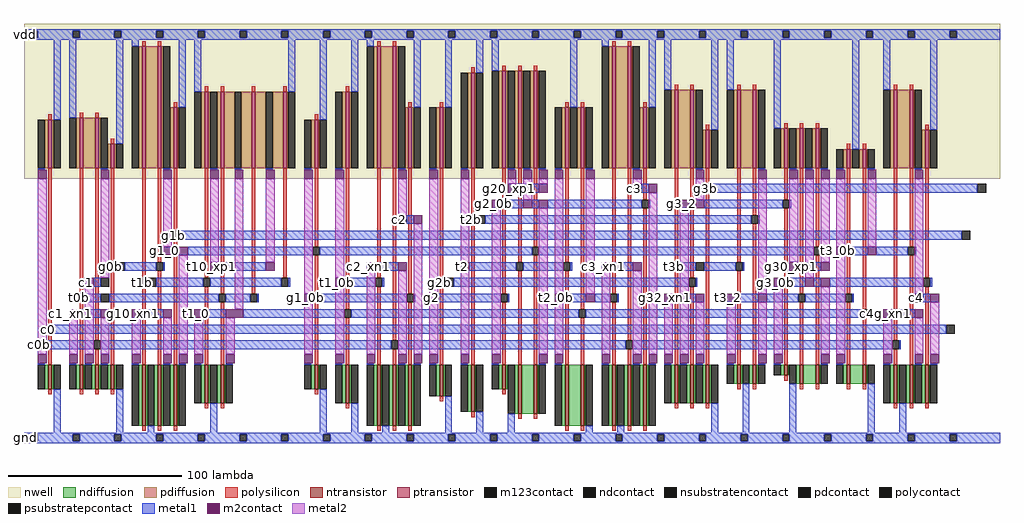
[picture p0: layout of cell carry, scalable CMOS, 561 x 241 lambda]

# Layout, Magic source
magic
tech scmos
<< nwell >>
rect 0 152 561 241
<< ntransistor >>
rect 14 31 16 45
rect 32 31 34 45
rect 41 31 43 45
rect 50 31 52 45
rect 68 10 70 45
rect 77 10 79 45
rect 86 10 88 45
rect 104 23 106 45
rect 113 23 115 45
rect 167 31 169 45
rect 185 23 187 45
rect 203 10 205 45
rect 212 10 214 45
rect 221 10 223 45
rect 239 27 241 45
rect 257 18 259 45
rect 275 31 277 45
rect 284 17 286 45
rect 293 17 295 45
rect 311 10 313 45
rect 320 10 322 45
rect 338 10 340 45
rect 347 10 349 45
rect 356 10 358 45
rect 374 23 376 45
rect 383 23 385 45
rect 392 23 394 45
rect 410 34 412 45
rect 419 34 421 45
rect 437 39 439 45
rect 446 34 448 45
rect 455 34 457 45
rect 473 34 475 45
rect 482 34 484 45
rect 500 23 502 45
rect 509 23 511 45
rect 518 23 520 45
<< ptransistor >>
rect 14 158 16 186
rect 32 158 34 187
rect 41 158 43 187
rect 50 158 52 172
rect 68 158 70 228
rect 77 158 79 228
rect 86 158 88 193
rect 104 158 106 202
rect 113 158 115 202
rect 131 158 133 202
rect 149 158 151 202
rect 167 158 169 186
rect 185 158 187 202
rect 203 158 205 228
rect 212 158 214 228
rect 221 158 223 193
rect 239 158 241 193
rect 257 158 259 213
rect 275 158 277 214
rect 284 158 286 214
rect 293 158 295 214
rect 311 158 313 193
rect 320 158 322 193
rect 338 158 340 228
rect 347 158 349 228
rect 356 158 358 193
rect 374 158 376 203
rect 383 158 385 203
rect 392 158 394 180
rect 410 158 412 203
rect 419 158 421 203
rect 437 158 439 181
rect 446 158 448 181
rect 455 158 457 181
rect 473 158 475 169
rect 482 158 484 169
rect 500 158 502 203
rect 509 158 511 203
rect 518 158 520 180
<< ndiffusion >>
rect 12 31 14 45
rect 16 31 17 45
rect 30 31 32 45
rect 34 31 35 45
rect 39 31 41 45
rect 43 31 44 45
rect 48 31 50 45
rect 52 31 53 45
rect 66 10 68 45
rect 70 10 71 45
rect 75 10 77 45
rect 79 10 80 45
rect 84 10 86 45
rect 88 10 89 45
rect 102 23 104 45
rect 106 23 107 45
rect 111 23 113 45
rect 115 23 116 45
rect 165 31 167 45
rect 169 31 170 45
rect 183 23 185 45
rect 187 23 188 45
rect 201 10 203 45
rect 205 10 206 45
rect 210 10 212 45
rect 214 10 215 45
rect 219 10 221 45
rect 223 10 224 45
rect 237 27 239 45
rect 241 27 242 45
rect 255 18 257 45
rect 259 18 260 45
rect 273 31 275 45
rect 277 31 278 45
rect 282 17 284 45
rect 286 17 293 45
rect 295 17 296 45
rect 309 10 311 45
rect 313 10 320 45
rect 322 10 323 45
rect 336 10 338 45
rect 340 10 341 45
rect 345 10 347 45
rect 349 10 350 45
rect 354 10 356 45
rect 358 10 359 45
rect 372 23 374 45
rect 376 23 377 45
rect 381 23 383 45
rect 385 23 386 45
rect 390 23 392 45
rect 394 23 395 45
rect 408 34 410 45
rect 412 34 413 45
rect 417 34 419 45
rect 421 34 422 45
rect 435 39 437 45
rect 439 39 440 45
rect 444 34 446 45
rect 448 34 455 45
rect 457 34 458 45
rect 471 34 473 45
rect 475 34 482 45
rect 484 34 485 45
rect 498 23 500 45
rect 502 23 503 45
rect 507 23 509 45
rect 511 23 512 45
rect 516 23 518 45
rect 520 23 521 45
<< pdiffusion >>
rect 12 158 14 186
rect 16 158 17 186
rect 30 158 32 187
rect 34 158 41 187
rect 43 158 44 187
rect 48 158 50 172
rect 52 158 53 172
rect 66 158 68 228
rect 70 158 77 228
rect 79 158 80 228
rect 84 158 86 193
rect 88 158 89 193
rect 102 158 104 202
rect 106 158 107 202
rect 111 158 113 202
rect 115 158 121 202
rect 125 158 131 202
rect 133 158 139 202
rect 143 158 149 202
rect 151 158 152 202
rect 165 158 167 186
rect 169 158 170 186
rect 183 158 185 202
rect 187 158 188 202
rect 201 158 203 228
rect 205 158 212 228
rect 214 158 215 228
rect 219 158 221 193
rect 223 158 224 193
rect 237 158 239 193
rect 241 158 242 193
rect 255 158 257 213
rect 259 158 260 213
rect 273 158 275 214
rect 277 158 278 214
rect 282 158 284 214
rect 286 158 287 214
rect 291 158 293 214
rect 295 158 296 214
rect 309 158 311 193
rect 313 158 314 193
rect 318 158 320 193
rect 322 158 323 193
rect 336 158 338 228
rect 340 158 347 228
rect 349 158 350 228
rect 354 158 356 193
rect 358 158 359 193
rect 372 158 374 203
rect 376 158 383 203
rect 385 158 386 203
rect 390 158 392 180
rect 394 158 395 180
rect 408 158 410 203
rect 412 158 419 203
rect 421 158 422 203
rect 435 158 437 181
rect 439 158 440 181
rect 444 158 446 181
rect 448 158 449 181
rect 453 158 455 181
rect 457 158 458 181
rect 471 158 473 169
rect 475 158 476 169
rect 480 158 482 169
rect 484 158 485 169
rect 498 158 500 203
rect 502 158 509 203
rect 511 158 512 203
rect 516 158 518 180
rect 520 158 521 180
<< ndcontact >>
rect 8 31 12 45
rect 17 31 21 45
rect 26 31 30 45
rect 35 31 39 45
rect 44 31 48 45
rect 53 31 57 45
rect 62 10 66 45
rect 71 10 75 45
rect 80 10 84 45
rect 89 10 93 45
rect 98 23 102 45
rect 107 23 111 45
rect 116 23 120 45
rect 161 31 165 45
rect 170 31 174 45
rect 179 23 183 45
rect 188 23 192 45
rect 197 10 201 45
rect 206 10 210 45
rect 215 10 219 45
rect 224 10 228 45
rect 233 27 237 45
rect 242 27 246 45
rect 251 18 255 45
rect 260 18 264 45
rect 269 31 273 45
rect 278 17 282 45
rect 296 17 300 45
rect 305 10 309 45
rect 323 10 327 45
rect 332 10 336 45
rect 341 10 345 45
rect 350 10 354 45
rect 359 10 363 45
rect 368 23 372 45
rect 377 23 381 45
rect 386 23 390 45
rect 395 23 399 45
rect 404 34 408 45
rect 413 34 417 45
rect 422 34 426 45
rect 431 39 435 45
rect 440 34 444 45
rect 458 34 462 45
rect 467 34 471 45
rect 485 34 489 45
rect 494 23 498 45
rect 503 23 507 45
rect 512 23 516 45
rect 521 23 525 45
<< pdcontact >>
rect 8 158 12 186
rect 17 158 21 186
rect 26 158 30 187
rect 44 158 48 187
rect 53 158 57 172
rect 62 158 66 228
rect 80 158 84 228
rect 89 158 93 193
rect 98 158 102 202
rect 107 158 111 202
rect 121 158 125 202
rect 139 158 143 202
rect 152 158 156 202
rect 161 158 165 186
rect 170 158 174 186
rect 179 158 183 202
rect 188 158 192 202
rect 197 158 201 228
rect 215 158 219 228
rect 224 158 228 193
rect 233 158 237 193
rect 242 158 246 193
rect 251 158 255 213
rect 260 158 264 213
rect 269 158 273 214
rect 278 158 282 214
rect 287 158 291 214
rect 296 158 300 214
rect 305 158 309 193
rect 314 158 318 193
rect 323 158 327 193
rect 332 158 336 228
rect 350 158 354 228
rect 359 158 363 193
rect 368 158 372 203
rect 386 158 390 203
rect 395 158 399 180
rect 404 158 408 203
rect 422 158 426 203
rect 431 158 435 181
rect 440 158 444 181
rect 449 158 453 181
rect 458 158 462 181
rect 467 158 471 169
rect 476 158 480 169
rect 485 158 489 169
rect 494 158 498 203
rect 512 158 516 203
rect 521 158 525 180
<< psubstratepcontact >>
rect 4 1 8 5
rect 28 1 32 5
rect 52 1 56 5
rect 76 1 80 5
rect 100 1 104 5
rect 124 1 128 5
rect 148 1 152 5
rect 172 1 176 5
rect 196 1 200 5
rect 220 1 224 5
rect 244 1 248 5
rect 268 1 272 5
rect 292 1 296 5
rect 316 1 320 5
rect 340 1 344 5
rect 364 1 368 5
rect 388 1 392 5
rect 412 1 416 5
rect 436 1 440 5
rect 460 1 464 5
rect 484 1 488 5
rect 508 1 512 5
rect 532 1 536 5
<< nsubstratencontact >>
rect 4 233 8 237
rect 28 233 32 237
rect 52 233 56 237
rect 76 233 80 237
rect 100 233 104 237
rect 124 233 128 237
rect 148 233 152 237
rect 172 233 176 237
rect 196 233 200 237
rect 220 233 224 237
rect 244 233 248 237
rect 268 233 272 237
rect 292 233 296 237
rect 316 233 320 237
rect 340 233 344 237
rect 364 233 368 237
rect 388 233 392 237
rect 412 233 416 237
rect 436 233 440 237
rect 460 233 464 237
rect 484 233 488 237
rect 508 233 512 237
rect 532 233 536 237
<< polysilicon >>
rect 68 228 70 231
rect 77 228 79 231
rect 203 228 205 231
rect 212 228 214 231
rect 338 228 340 231
rect 347 228 349 231
rect 14 186 16 189
rect 32 187 34 190
rect 41 187 43 190
rect 50 172 52 175
rect 104 202 106 205
rect 113 202 115 205
rect 131 202 133 205
rect 149 202 151 205
rect 185 202 187 205
rect 86 193 88 196
rect 167 186 169 189
rect 257 213 259 216
rect 275 214 277 217
rect 284 214 286 217
rect 293 214 295 217
rect 221 193 223 196
rect 239 193 241 196
rect 311 193 313 196
rect 320 193 322 196
rect 374 203 376 206
rect 383 203 385 206
rect 410 203 412 206
rect 419 203 421 206
rect 500 203 502 206
rect 509 203 511 206
rect 356 193 358 196
rect 392 180 394 183
rect 437 181 439 184
rect 446 181 448 184
rect 455 181 457 184
rect 473 169 475 172
rect 482 169 484 172
rect 518 180 520 183
rect 14 68 16 158
rect 32 86 34 158
rect 14 45 16 63
rect 32 45 34 81
rect 41 59 43 158
rect 50 104 52 158
rect 41 45 43 54
rect 50 45 52 99
rect 68 95 70 158
rect 77 104 79 158
rect 86 122 88 158
rect 68 45 70 90
rect 77 45 79 99
rect 86 45 88 117
rect 104 95 106 158
rect 104 45 106 90
rect 113 86 115 158
rect 131 86 133 158
rect 149 95 151 158
rect 167 113 169 158
rect 113 45 115 81
rect 167 45 169 108
rect 185 77 187 158
rect 203 95 205 158
rect 185 45 187 72
rect 203 45 205 90
rect 212 59 214 158
rect 221 86 223 158
rect 239 95 241 158
rect 257 131 259 158
rect 212 45 214 54
rect 221 45 223 81
rect 239 45 241 90
rect 257 45 259 126
rect 275 86 277 158
rect 284 104 286 158
rect 293 113 295 158
rect 275 45 277 81
rect 284 45 286 99
rect 293 45 295 108
rect 311 104 313 158
rect 311 45 313 99
rect 320 77 322 158
rect 338 86 340 158
rect 320 45 322 72
rect 338 45 340 81
rect 347 59 349 158
rect 356 140 358 158
rect 347 45 349 54
rect 356 45 358 135
rect 374 104 376 158
rect 374 45 376 99
rect 383 95 385 158
rect 392 149 394 158
rect 383 45 385 90
rect 392 45 394 144
rect 410 104 412 158
rect 419 131 421 158
rect 437 140 439 158
rect 410 45 412 99
rect 419 45 421 126
rect 437 45 439 135
rect 446 86 448 158
rect 455 113 457 158
rect 446 45 448 81
rect 455 45 457 108
rect 473 86 475 158
rect 473 45 475 81
rect 482 77 484 158
rect 482 45 484 72
rect 500 59 502 158
rect 509 113 511 158
rect 500 45 502 54
rect 509 45 511 108
rect 518 95 520 158
rect 518 45 520 90
rect 14 28 16 31
rect 32 28 34 31
rect 41 28 43 31
rect 50 28 52 31
rect 167 28 169 31
rect 104 20 106 23
rect 113 20 115 23
rect 185 20 187 23
rect 239 24 241 27
rect 275 28 277 31
rect 257 15 259 18
rect 284 14 286 17
rect 293 14 295 17
rect 437 36 439 39
rect 410 31 412 34
rect 419 31 421 34
rect 446 31 448 34
rect 455 31 457 34
rect 473 31 475 34
rect 482 31 484 34
rect 374 20 376 23
rect 383 20 385 23
rect 392 20 394 23
rect 500 20 502 23
rect 509 20 511 23
rect 518 20 520 23
rect 68 7 70 10
rect 77 7 79 10
rect 86 7 88 10
rect 203 7 205 10
rect 212 7 214 10
rect 221 7 223 10
rect 311 7 313 10
rect 320 7 322 10
rect 338 7 340 10
rect 347 7 349 10
rect 356 7 358 10
<< polycontact >>
rect 31 81 35 86
rect 13 63 17 68
rect 49 99 53 104
rect 40 54 44 59
rect 85 117 89 122
rect 76 99 80 104
rect 67 90 71 95
rect 103 90 107 95
rect 166 108 170 113
rect 148 90 152 95
rect 112 81 116 86
rect 130 81 134 86
rect 202 90 206 95
rect 184 72 188 77
rect 256 126 260 131
rect 238 90 242 95
rect 220 81 224 86
rect 211 54 215 59
rect 292 108 296 113
rect 283 99 287 104
rect 274 81 278 86
rect 310 99 314 104
rect 337 81 341 86
rect 319 72 323 77
rect 355 135 359 140
rect 346 54 350 59
rect 373 99 377 104
rect 391 144 395 149
rect 382 90 386 95
rect 436 135 440 140
rect 418 126 422 131
rect 409 99 413 104
rect 454 108 458 113
rect 445 81 449 86
rect 472 81 476 86
rect 481 72 485 77
rect 508 108 512 113
rect 499 54 503 59
rect 517 90 521 95
<< metal1 >>
rect 0 237 561 238
rect 0 233 4 237
rect 8 233 28 237
rect 32 233 52 237
rect 56 233 76 237
rect 80 233 100 237
rect 104 233 124 237
rect 128 233 148 237
rect 152 233 172 237
rect 176 233 196 237
rect 200 233 220 237
rect 224 233 244 237
rect 248 233 268 237
rect 272 233 292 237
rect 296 233 316 237
rect 320 233 340 237
rect 344 233 364 237
rect 368 233 388 237
rect 392 233 412 237
rect 416 233 436 237
rect 440 233 460 237
rect 464 233 484 237
rect 488 233 508 237
rect 512 233 532 237
rect 536 233 561 237
rect 0 232 561 233
rect 17 186 21 232
rect 26 187 30 232
rect 53 172 57 232
rect 62 228 66 232
rect 89 193 93 232
rect 98 202 102 232
rect 152 202 156 232
rect 8 157 12 158
rect 44 157 48 158
rect 80 157 84 158
rect 107 157 111 158
rect 121 157 125 158
rect 170 186 174 232
rect 188 202 192 232
rect 197 228 201 232
rect 224 193 228 232
rect 242 193 246 232
rect 260 213 264 232
rect 269 214 273 232
rect 139 157 143 158
rect 161 157 165 158
rect 179 157 183 158
rect 215 157 219 158
rect 233 157 237 158
rect 251 157 255 158
rect 278 157 282 158
rect 287 157 291 158
rect 314 193 318 232
rect 332 228 336 232
rect 296 157 300 158
rect 359 193 363 232
rect 368 203 372 232
rect 395 180 399 232
rect 404 203 408 232
rect 431 181 435 232
rect 305 157 309 158
rect 323 157 327 158
rect 350 157 354 158
rect 386 157 390 158
rect 422 157 426 158
rect 440 157 444 158
rect 449 157 453 158
rect 476 169 480 232
rect 494 203 498 232
rect 458 157 462 158
rect 521 180 525 232
rect 467 157 471 158
rect 485 157 489 158
rect 512 157 516 158
rect 283 144 296 149
rect 355 144 359 149
rect 395 144 548 149
rect 274 135 287 140
rect 292 135 296 140
rect 301 135 355 140
rect 359 135 360 140
rect 382 135 386 140
rect 391 135 436 140
rect 440 135 441 140
rect 220 126 224 131
rect 265 126 418 131
rect 422 126 423 131
rect 89 117 539 122
rect 85 108 89 113
rect 94 108 166 113
rect 170 108 292 113
rect 296 108 454 113
rect 458 108 459 113
rect 472 108 485 113
rect 490 108 508 113
rect 512 108 513 113
rect 58 99 76 104
rect 80 99 81 104
rect 112 99 139 104
rect 202 99 215 104
rect 256 99 283 104
rect 287 99 310 104
rect 314 99 315 104
rect 337 99 350 104
rect 377 99 386 104
rect 391 99 409 104
rect 413 99 414 104
rect 445 99 458 104
rect 40 90 44 95
rect 76 90 103 95
rect 107 90 148 95
rect 152 90 153 95
rect 184 90 202 95
rect 206 90 207 95
rect 247 90 382 95
rect 386 90 387 95
rect 436 90 449 95
rect 454 90 458 95
rect 463 90 517 95
rect 521 90 522 95
rect 35 81 44 86
rect 49 81 112 86
rect 116 81 130 86
rect 134 81 135 86
rect 166 81 220 86
rect 224 81 225 86
rect 238 81 274 86
rect 278 81 279 86
rect 310 81 323 86
rect 328 81 337 86
rect 341 81 342 86
rect 373 81 386 86
rect 409 81 422 86
rect 427 81 445 86
rect 449 81 472 86
rect 476 81 477 86
rect 517 81 521 86
rect 31 72 44 77
rect 67 72 80 77
rect 103 72 116 77
rect 126 72 184 77
rect 188 72 319 77
rect 323 72 481 77
rect 485 72 486 77
rect 499 72 512 77
rect 17 63 530 68
rect 13 54 40 59
rect 44 54 211 59
rect 215 54 346 59
rect 350 54 499 59
rect 503 54 504 59
rect 8 45 12 46
rect 26 45 30 46
rect 35 45 39 46
rect 44 45 48 46
rect 62 45 66 46
rect 80 45 84 46
rect 17 6 21 31
rect 53 6 57 31
rect 89 45 93 46
rect 98 45 102 46
rect 116 45 120 46
rect 161 45 165 46
rect 179 45 183 46
rect 197 45 201 46
rect 215 45 219 46
rect 71 6 75 10
rect 107 6 111 23
rect 170 6 174 31
rect 188 6 192 23
rect 224 45 228 46
rect 233 45 237 46
rect 251 45 255 46
rect 269 45 273 46
rect 296 45 300 46
rect 206 6 210 10
rect 242 6 246 27
rect 260 6 264 18
rect 305 45 309 46
rect 332 45 336 46
rect 350 45 354 46
rect 278 6 282 17
rect 359 45 363 46
rect 368 45 372 46
rect 377 45 381 46
rect 386 45 390 46
rect 404 45 408 46
rect 422 45 426 46
rect 431 45 435 46
rect 458 45 462 46
rect 467 45 471 46
rect 494 45 498 46
rect 512 45 516 46
rect 323 6 327 10
rect 341 6 345 10
rect 395 6 399 23
rect 413 6 417 34
rect 440 6 444 34
rect 485 6 489 34
rect 521 45 525 46
rect 503 6 507 23
rect 0 5 561 6
rect 0 1 4 5
rect 8 1 28 5
rect 32 1 52 5
rect 56 1 76 5
rect 80 1 100 5
rect 104 1 124 5
rect 128 1 148 5
rect 152 1 172 5
rect 176 1 196 5
rect 200 1 220 5
rect 224 1 244 5
rect 248 1 268 5
rect 272 1 292 5
rect 296 1 316 5
rect 320 1 340 5
rect 344 1 364 5
rect 368 1 388 5
rect 392 1 412 5
rect 416 1 436 5
rect 440 1 460 5
rect 464 1 484 5
rect 488 1 508 5
rect 512 1 532 5
rect 536 1 561 5
rect 0 0 561 1
<< m2contact >>
rect 8 152 13 157
rect 44 152 49 157
rect 80 152 85 157
rect 107 152 112 157
rect 121 152 126 157
rect 139 152 144 157
rect 161 152 166 157
rect 179 152 184 157
rect 215 152 220 157
rect 233 152 238 157
rect 251 152 256 157
rect 278 152 283 157
rect 287 152 292 157
rect 296 152 301 157
rect 305 152 310 157
rect 323 152 328 157
rect 350 152 355 157
rect 386 152 391 157
rect 422 152 427 157
rect 440 152 445 157
rect 449 152 454 157
rect 458 152 463 157
rect 467 152 472 157
rect 485 152 490 157
rect 512 152 517 157
rect 278 144 283 149
rect 296 144 301 149
rect 359 144 364 149
rect 269 135 274 140
rect 287 135 292 140
rect 296 135 301 140
rect 377 135 382 140
rect 386 135 391 140
rect 224 126 229 131
rect 80 108 85 113
rect 89 108 94 113
rect 467 108 472 113
rect 485 108 490 113
rect 107 99 112 104
rect 139 99 144 104
rect 197 99 202 104
rect 215 99 220 104
rect 251 99 256 104
rect 332 99 337 104
rect 350 99 355 104
rect 440 99 445 104
rect 458 99 463 104
rect 35 90 40 95
rect 179 90 184 95
rect 431 90 436 95
rect 449 90 454 95
rect 458 90 463 95
rect 161 81 166 86
rect 233 81 238 86
rect 305 81 310 86
rect 323 81 328 86
rect 368 81 373 86
rect 386 81 391 86
rect 404 81 409 86
rect 422 81 427 86
rect 521 81 526 86
rect 26 72 31 77
rect 44 72 49 77
rect 62 72 67 77
rect 80 72 85 77
rect 98 72 103 77
rect 116 72 126 77
rect 494 72 499 77
rect 512 72 517 77
rect 8 54 13 59
rect 8 46 13 51
rect 26 46 31 51
rect 35 46 40 51
rect 44 46 49 51
rect 62 46 67 51
rect 80 46 85 51
rect 89 46 94 51
rect 98 46 103 51
rect 116 46 121 51
rect 161 46 166 51
rect 179 46 184 51
rect 197 46 202 51
rect 215 46 220 51
rect 224 46 229 51
rect 233 46 238 51
rect 251 46 256 51
rect 269 46 274 51
rect 296 46 301 51
rect 305 46 310 51
rect 332 46 337 51
rect 350 46 355 51
rect 359 46 364 51
rect 368 46 373 51
rect 377 46 382 51
rect 386 46 391 51
rect 404 46 409 51
rect 422 46 427 51
rect 431 46 436 51
rect 458 46 463 51
rect 467 46 472 51
rect 494 46 499 51
rect 512 46 517 51
rect 521 46 526 51
<< metal2 >>
rect 8 59 13 152
rect 44 95 49 152
rect 80 113 85 152
rect 8 51 13 54
rect 26 51 31 72
rect 35 51 40 90
rect 44 51 49 72
rect 62 51 67 72
rect 80 51 85 72
rect 89 51 94 108
rect 107 104 112 152
rect 121 77 126 152
rect 139 104 144 152
rect 98 51 103 72
rect 161 86 166 152
rect 116 51 121 72
rect 161 51 166 81
rect 179 95 184 152
rect 215 131 220 152
rect 179 51 184 90
rect 197 51 202 99
rect 215 51 220 99
rect 224 51 229 126
rect 233 86 238 152
rect 251 104 256 152
rect 278 149 283 152
rect 287 140 292 152
rect 296 149 301 152
rect 233 51 238 81
rect 251 51 256 99
rect 269 51 274 135
rect 296 51 301 135
rect 305 86 310 152
rect 323 86 328 152
rect 350 149 355 152
rect 305 51 310 81
rect 332 51 337 99
rect 350 51 355 99
rect 359 51 364 144
rect 386 140 391 152
rect 368 51 373 81
rect 377 51 382 135
rect 422 86 427 152
rect 440 104 445 152
rect 449 95 454 152
rect 458 104 463 152
rect 467 113 472 152
rect 485 113 490 152
rect 386 51 391 81
rect 404 51 409 81
rect 422 51 427 81
rect 431 51 436 90
rect 458 51 463 90
rect 467 51 472 108
rect 512 86 517 152
rect 494 51 499 72
rect 512 51 517 72
rect 521 51 526 81
<< m123contact >>
rect 53 99 58 104
rect 44 90 49 95
rect 71 90 76 95
rect 44 81 49 86
rect 215 126 220 131
rect 260 126 265 131
rect 242 90 247 95
rect 350 144 355 149
rect 386 99 391 104
rect 548 144 553 149
rect 539 117 544 122
rect 512 81 517 86
rect 530 63 535 68
<< labels >>
rlabel metal1 13 63 15 68 0 c0
port 1 nsew
rlabel m2contact 35 90 37 95 0 c1
port 2 nsew
rlabel metal1 215 126 217 131 0 c2
port 3 nsew
rlabel metal1 350 144 352 149 0 c3
port 4 nsew
rlabel metal1 512 81 514 86 0 c4
port 5 nsew
rlabel metal1 49 99 51 104 0 g0b
port 6 nsew
rlabel metal1 85 117 87 122 0 g1b
port 7 nsew
rlabel metal1 238 90 240 95 0 g2b
port 8 nsew
rlabel metal1 391 144 393 149 0 g3b
port 9 nsew
rlabel metal1 31 81 33 86 0 t0b
port 10 nsew
rlabel metal1 67 90 69 95 0 t1b
port 11 nsew
rlabel metal1 256 126 258 131 0 t2b
port 12 nsew
rlabel metal1 373 99 375 104 0 t3b
port 13 nsew
rlabel m2contact 8 54 10 59 0 c0b
rlabel m2contact 26 72 28 77 0 c1_xn1
rlabel m2contact 197 99 199 104 0 c2_xn1
rlabel m2contact 332 99 334 104 0 c3_xn1
rlabel m2contact 494 72 496 77 0 c4g_xn1
rlabel m2contact 62 72 64 77 0 g10_xn1
rlabel m2contact 80 108 82 113 0 g1_0
rlabel m2contact 161 81 163 86 0 g1_0b
rlabel m2contact 233 81 235 86 0 g2
rlabel m2contact 278 144 280 149 0 g20_xp1
rlabel m2contact 269 135 271 140 0 g2_0b
rlabel m2contact 440 99 442 104 0 g30_xp1
rlabel m2contact 368 81 370 86 0 g32_xn1
rlabel m2contact 431 90 433 95 0 g3_0b
rlabel m2contact 377 135 379 140 0 g3_2
rlabel m2contact 107 99 109 104 0 t10_xp1
rlabel m2contact 98 72 100 77 0 t1_0
rlabel m2contact 179 90 181 95 0 t1_0b
rlabel m2contact 251 99 253 104 0 t2
rlabel m2contact 305 81 307 86 0 t2_0b
rlabel m2contact 467 108 469 113 0 t3_0b
rlabel m2contact 404 81 406 86 0 t3_2
rlabel metal1 0 232 2 238 0 vdd
port 14 nsew
rlabel metal1 0 0 2 6 0 gnd
port 15 nsew
<< end >>
